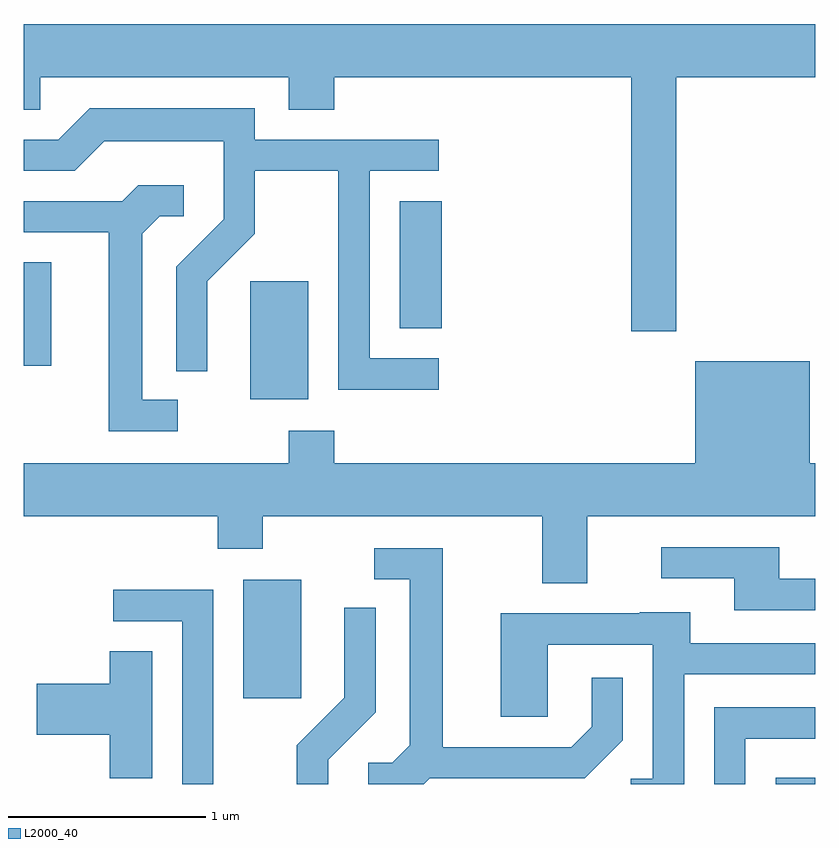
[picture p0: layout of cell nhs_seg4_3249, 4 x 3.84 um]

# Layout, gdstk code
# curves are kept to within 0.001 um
import gdstk
lib = gdstk.Library(unit=1e-6, precision=1e-09)
def R(c, l, rs):  # rectangles x0, y0, x1, y1
    for r in rs: c.add(gdstk.rectangle(r[:2], r[2:], *l))
def P(c, l, *ps):  # polygons
    for p in ps: c.add(gdstk.Polygon(p, *l))
L2000_40 = (2000, 40)

nhs_seg4_3249 = lib.new_cell('nhs_seg4_3249')
R(nhs_seg4_3249, L2000_40, [(283.411,1359.982,283.611,1360.014), (280.721,1360.416,281.014,1361.014), (280.756,1361.926,281.049,1362.524), (279.611,1362.096,279.749,1362.619), (281.511,1362.286,281.724,1362.929)])
P(nhs_seg4_3249, L2000_40, [(282.909,1363.556),(283.611,1363.556),(283.611,1363.824),(279.611,1363.824),(279.611,1363.391),(279.694,1363.391),(279.694,1363.556),(280.951,1363.556),(280.951,1363.391),(281.179,1363.391),(281.179,1363.556),(282.681,1363.556),(282.681,1362.271),(282.909,1362.271)],
  [(281.708,1362.134),(281.359,1362.134),(281.359,1363.081),(281.708,1363.081),(281.708,1363.239),(280.779,1363.239),(280.779,1363.399),(279.944,1363.399),(279.784,1363.239),(279.611,1363.239),(279.611,1363.081),(279.867,1363.081),(280.017,1363.231),(280.621,1363.231),(280.621,1362.837),(280.381,1362.597),(280.381,1362.068),(280.539,1362.068),(280.539,1362.524),(280.779,1362.764),(280.779,1363.081),(281.201,1363.081),(281.201,1361.976),(281.708,1361.976)],
  [(280.388,1361.924),(280.209,1361.924),(280.209,1362.764),(280.297,1362.851),(280.418,1362.851),(280.418,1363.009),(280.189,1363.009),(280.109,1362.929),(279.611,1362.929),(279.611,1362.771),(280.041,1362.771),(280.041,1361.766),(280.388,1361.766)],
  [(282.459,1361.336),(283.611,1361.336),(283.611,1361.604),(283.584,1361.604),(283.584,1362.119),(283.006,1362.119),(283.006,1361.604),(281.179,1361.604),(281.179,1361.769),(280.951,1361.769),(280.951,1361.604),(279.611,1361.604),(279.611,1361.336),(280.591,1361.336),(280.591,1361.171),(280.819,1361.171),(280.819,1361.336),(282.231,1361.336),(282.231,1360.996),(282.459,1360.996)],
  [(283.611,1361.019),(283.429,1361.019),(283.429,1361.179),(282.833,1361.179),(282.833,1361.021),(283.201,1361.021),(283.201,1360.861),(283.611,1360.861)],
  [(281.662,1360.011),(282.447,1360.011),(282.639,1360.204),(282.639,1360.518),(282.481,1360.518),(282.481,1360.272),(282.379,1360.169),(281.729,1360.169),(281.729,1361.174),(281.383,1361.174),(281.383,1361.016),(281.561,1361.016),(281.561,1360.177),(281.474,1360.089),(281.353,1360.089),(281.353,1359.982),(281.633,1359.982)],
  [(280.569,1360.964),(280.063,1360.964),(280.063,1360.806),(280.411,1360.806),(280.411,1359.982),(280.569,1359.982)],
  [(281.149,1360.104),(281.389,1360.344),(281.389,1360.873),(281.231,1360.873),(281.231,1360.417),(280.991,1360.177),(280.991,1359.982),(281.149,1359.982)],
  [(282.949,1360.536),(283.611,1360.536),(283.611,1360.694),(282.979,1360.694),(282.979,1360.849),(282.725,1360.849),(282.725,1360.844),(282.021,1360.844),(282.021,1360.321),(282.259,1360.321),(282.259,1360.686),(282.791,1360.686),(282.791,1360.009),(282.678,1360.009),(282.678,1359.982),(282.949,1359.982)],
  [(280.259,1360.654),(280.046,1360.654),(280.046,1360.489),(279.676,1360.489),(279.676,1360.231),(280.046,1360.231),(280.046,1360.011),(280.259,1360.011)],
  [(283.259,1360.211),(283.611,1360.211),(283.611,1360.369),(283.101,1360.369),(283.101,1359.982),(283.259,1359.982)])

lib.write_gds('nhs_seg4_3249.gds')
